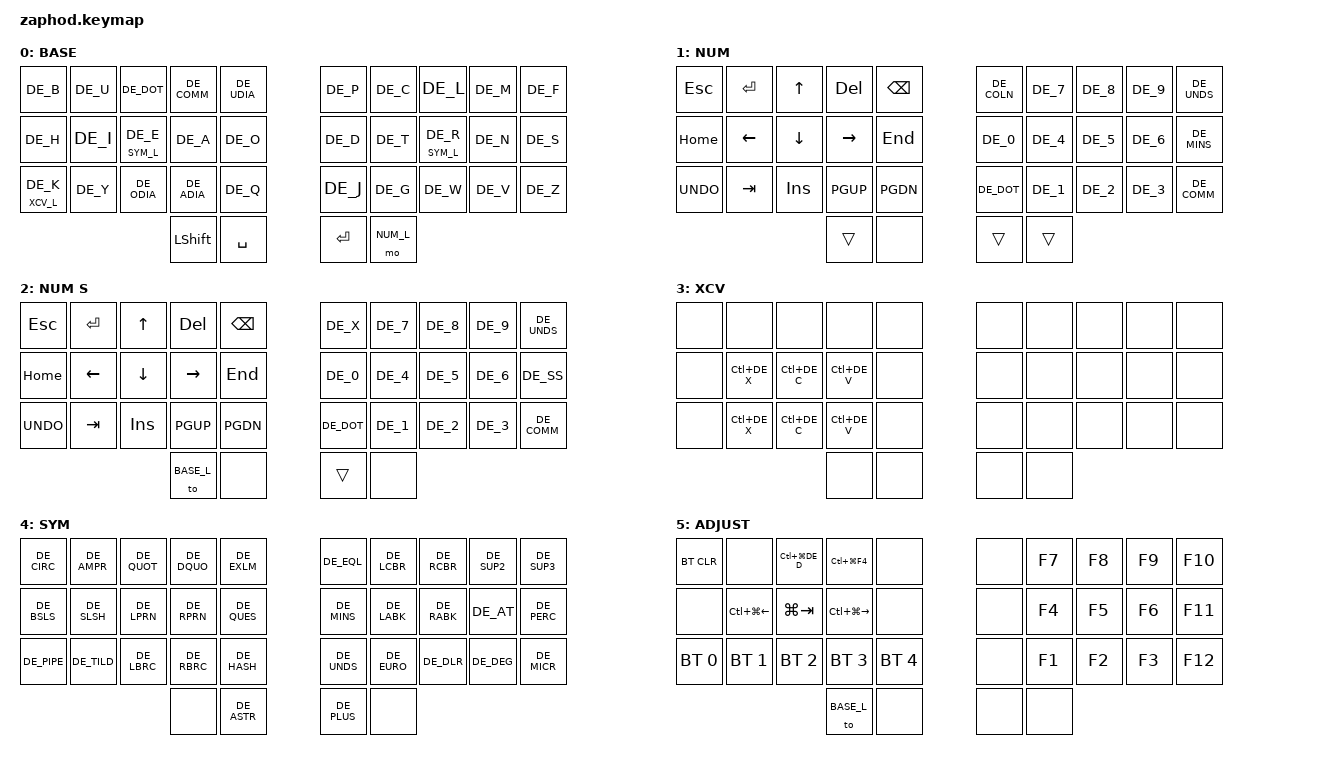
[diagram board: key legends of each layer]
/*
 * Copyright (c) 2022 Jan Titze
 *
 * SPDX-License-Identifier: MIT
 */

#include <behaviors.dtsi>
#include <dt-bindings/zmk/keys.h>
#include <dt-bindings/zmk/bt.h>
#include <dt-bindings/zmk/outputs.h>

#include "./international/codes_german.h"

// Defines for readability
#define _______ &trans
#define XXXXXXX &none

// Defines for layers
#define BASE_L  0 //_BASE,
#define NUM_L   1 //_NUMBERS,
#define SNUM_L  2 //_SNUMBERS
#define XCV_L   3 //_XCV
#define SYM_L   4 //_SYMBOLS
#define ADJ_L   5 //_ADJUST

// Defines for keypositions to enhance readability of combos
#define INDEX_L     13
#define MIDDLE_L    12
#define RING_L      11
#define PINKY_L     10
#define INDEX_R     16
#define MIDDLE_R    17
#define RING_R      18
#define PINKY_R     19

#define THUMB_1     30
#define THUMB_2     31
#define THUMB_3     32
#define THUMB_4     33

// Using layer taps on thumbs, having quick tap as well helps w/ repeating space/backspace
// &lt { quick_tap_ms = <200>; };

&sk {
    release-after-ms = <2000>;
    quick-release;
    /delete-property/ ignore-modifiers;
};

/*   34 KEY MATRIX / LAYOUT MAPPING
    ╭────────────────────┬────────────────────╮
    │  0   1   2   3   4 │  5   6   7   8   9 │
    │ 10  11  12  13  14 │ 15  16  17  18  19 │
    │ 20  21  22  23  24 │ 25  26  27  28  29 │
    ╰───────────╮ 30  31 │ 32  33 ╭───────────╯
                ╰────────┴────────╯             */
                
/ {
    combos {
        compatible = "zmk,combos";

        combo_lctrl {
	    timeout-ms = <50>;
            key-positions = <MIDDLE_L INDEX_L>;
            bindings = <&sk LCTRL>;
        };

        combo_lalt {
	    timeout-ms = <50>;
            key-positions = <RING_L INDEX_L>;
            bindings = <&sk LALT>;
        };

        combo_lgui {
	    timeout-ms = <50>;
            key-positions = <PINKY_L INDEX_L>;
            bindings = <&sk LGUI>;
        };
	
        combo_lctrlalt {
	    timeout-ms = <50>;
            key-positions = <RING_L MIDDLE_L INDEX_L>;
            bindings = <&sk LA(LCTRL)>;
        };
	
        combo_lctrlgui {
	    timeout-ms = <50>;
            key-positions = <PINKY_L MIDDLE_L INDEX_L>;
            bindings = <&sk LG(LCTRL)>;
        };
	
        combo_laltgui {
	    timeout-ms = <50>;
            key-positions = <PINKY_L RING_L INDEX_L>;
            bindings = <&sk LG(LALT)>;
        };
	
        combo_lctrlaltgui {
	    timeout-ms = <50>;
            key-positions = <PINKY_L RING_L INDEX_L>;
            bindings = <&sk LA(LG(LCTRL))>;
        };

        combo_rctrl {
	    timeout-ms = <50>;
            key-positions = <MIDDLE_R INDEX_R>;
            bindings = <&sk LCTRL>;
        };

        combo_ralt {
	    timeout-ms = <50>;
            key-positions = <RING_R INDEX_R>;
            bindings = <&sk LALT>;
        };

        combo_rgui {
	    timeout-ms = <50>;
            key-positions = <PINKY_R INDEX_R>;
            bindings = <&sk LGUI>;
        };
	
        combo_rctrlalt {
	    timeout-ms = <50>;
            key-positions = <RING_R MIDDLE_R INDEX_R>;
            bindings = <&sk LA(LCTRL)>;
        };
	
        combo_rctrlgui {
	    timeout-ms = <50>;
            key-positions = <PINKY_R MIDDLE_R INDEX_R>;
            bindings = <&sk LG(LCTRL)>;
        };
	
        combo_raltgui {
	    timeout-ms = <50>;
            key-positions = <PINKY_R RING_R INDEX_R>;
            bindings = <&sk LG(LALT)>;
        };
	
        combo_rctrlaltgui {
	    timeout-ms = <50>;
            key-positions = <PINKY_R RING_R INDEX_R>;
            bindings = <&sk LA(LG(LCTRL))>;
        };


        combo_number_lock {
	    timeout-ms = <50>;
            key-positions = <THUMB_4 INDEX_R>;
            bindings = <&to SNUM_L>;
        };

        combo_adjust_oneshot {
	    timeout-ms = <50>;
            key-positions = <THUMB_4 MIDDLE_R>;
            bindings = <&sl ADJ_L>;
        };

        combo_ss {
	    timeout-ms = <50>;
            key-positions = <9 19>;
            bindings = <&kp DE_SS>;
        };

        combq_ae {
	    timeout-ms = <50>;
            key-positions = <3 13>;
            bindings = <&kp DE_ADIA>;
        };

        combq_oe {
	    timeout-ms = <50>;
            key-positions = <4 14>;
            bindings = <&kp DE_ODIA>;
        };

        combq_ue {
	    timeout-ms = <50>;
            key-positions = <1 11>;
            bindings = <&kp DE_UDIA>;
        };
    };

    behaviors {
        hm: homerow_mods {
            compatible = "zmk,behavior-hold-tap";
            label = "homerow mods";
            #binding-cells = <2>;
            tapping_term_ms = <200>;
	    quick-tap-ms = <100>;
	    flavor = "balanced";
            bindings = <&kp>, <&kp>;
        };
    };

    keymap {
        compatible = "zmk,keymap";

        default_layer {
            label = "BASE";
            bindings = <
                &kp DE_B        &kp DE_U   &kp DE_DOT     &kp DE_COMM    &kp DE_UDIA    &kp DE_P         &kp DE_C       &kp DE_L       &kp DE_M   &kp DE_F
                &kp DE_H        &kp DE_I   &lt SYM_L DE_E &kp DE_A       &kp DE_O       &kp DE_D         &kp DE_T       &lt SYM_L DE_R &kp DE_N   &kp DE_S
                &lt XCV_L DE_K  &kp DE_Y   &kp DE_ODIA    &kp DE_ADIA    &kp DE_Q       &kp DE_J         &kp DE_G       &kp DE_W       &kp DE_V   &kp DE_Z
                                                          &kp LSHIFT     &kp SPC        &kp ENTER        &mo NUM_L
            >;
        };

        num_layer {
            label = "NUM";
            bindings = <
                &kp ESC    &kp ENTER  &kp UP         &kp DEL        &kp BSPC       &kp DE_COLN      &kp DE_7      &kp DE_8        &kp DE_9    &kp DE_UNDS 
                &kp HOME   &kp LEFT   &kp DOWN       &kp RIGHT      &kp END        &kp DE_0         &kp DE_4      &kp DE_5        &kp DE_6    &kp DE_MINS 
                &kp UNDO   &kp TAB    &kp INS        &kp PGUP       &kp PGDN       &kp DE_DOT       &kp DE_1      &kp DE_2        &kp DE_3    &kp DE_COMM
                                                     _______        XXXXXXX        _______          _______
            >;
        };

        sticky_num_layer {
            label = "NUM S";
            bindings = <
                &kp ESC    &kp ENTER  &kp UP         &kp DEL        &kp BSPC       &kp DE_X         &kp DE_7      &kp DE_8        &kp DE_9    &kp DE_UNDS 
                &kp HOME   &kp LEFT   &kp DOWN       &kp RIGHT      &kp END        &kp DE_0         &kp DE_4      &kp DE_5        &kp DE_6    &kp DE_SS 
                &kp UNDO   &kp TAB    &kp INS        &kp PGUP       &kp PGDN       &kp DE_DOT       &kp DE_1      &kp DE_2        &kp DE_3    &kp DE_COMM
                                                     &to BASE_L     XXXXXXX        _______          XXXXXXX
            >;
        };

        xcv_layer {
            label = "XCV";
            bindings = <
                XXXXXXX    XXXXXXX      XXXXXXX      XXXXXXX        XXXXXXX        XXXXXXX          XXXXXXX       XXXXXXX         XXXXXXX      XXXXXXX    
                XXXXXXX    &kp LC(DE_X) &kp LC(DE_C) &kp LC(DE_V)   XXXXXXX        XXXXXXX          XXXXXXX       XXXXXXX         XXXXXXX      XXXXXXX
                XXXXXXX    &kp LC(DE_X) &kp LC(DE_C) &kp LC(DE_V)   XXXXXXX        XXXXXXX          XXXXXXX       XXXXXXX         XXXXXXX      XXXXXXX
                                                     XXXXXXX        XXXXXXX        XXXXXXX          XXXXXXX
            >;
        };

        sym_layer {
            label = "SYM";
            bindings = <
                &kp DE_CIRC &kp DE_AMPR &kp DE_QUOT &kp DE_DQUO &kp DE_EXLM &kp DE_EQL  &kp DE_LCBR &kp DE_RCBR &kp DE_SUP2 &kp DE_SUP3
                &kp DE_BSLS &kp DE_SLSH &kp DE_LPRN &kp DE_RPRN &kp DE_QUES &kp DE_MINS &kp DE_LABK &kp DE_RABK &kp DE_AT   &kp DE_PERC
                &kp DE_PIPE &kp DE_TILD &kp DE_LBRC &kp DE_RBRC &kp DE_HASH &kp DE_UNDS &kp DE_EURO &kp DE_DLR  &kp DE_DEG  &kp DE_MICR
                                                    XXXXXXX     &kp DE_ASTR &kp DE_PLUS XXXXXXX
            >;
        };

        adj_layer {
            label = "ADJUST";
            bindings = <
                &bt BT_CLR      XXXXXXX          &kp LC(LG(DE_D)) &kp LC(LG(F4))     XXXXXXX        XXXXXXX          &kp F7        &kp F8          &kp F9       &kp F10   
                XXXXXXX         &kp LC(LG(LEFT)) &kp LG(TAB)      &kp LC(LG(RIGHT))  XXXXXXX        XXXXXXX          &kp F4        &kp F5          &kp F6       &kp F11
                &bt BT_SEL 0    &bt BT_SEL 1     &bt BT_SEL 2     &bt BT_SEL 3       &bt BT_SEL 4   XXXXXXX          &kp F1        &kp F2          &kp F3       &kp F12
                                                                  &to BASE_L         XXXXXXX        XXXXXXX          XXXXXXX
            >;
        };
    };
};

